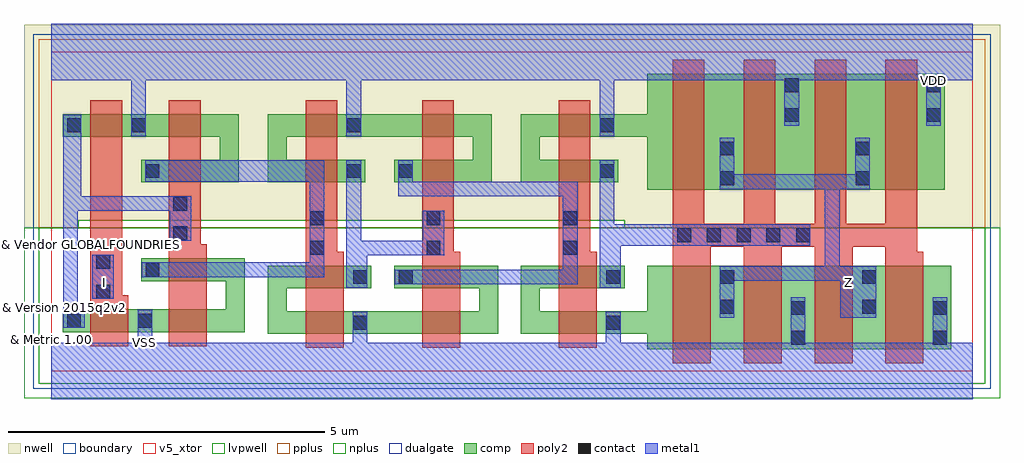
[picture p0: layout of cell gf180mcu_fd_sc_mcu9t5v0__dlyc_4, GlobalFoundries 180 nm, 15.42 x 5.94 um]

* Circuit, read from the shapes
.subckt gf180mcu_fd_sc_mcu9t5v0__dlyc_4 I VDD VSS Z
XM1 VSS I n1 VSUBS nfet_05v0 w=0.36u l=0.6u
XM2 n2 n1 VSS VSUBS nfet_05v0 w=0.36u l=0.6u
XM3 n2 n1 n3 VSUBS nfet_05v0 w=0.36u l=0.6u
XM4 VSS n3 n4 VSUBS nfet_05v0 w=0.36u l=0.6u
XM5 n5 n3 n4 VSUBS nfet_05v0 w=0.36u l=0.6u
XM6 n6 n5 VSS VSUBS nfet_05v0 w=0.36u l=0.6u
XM7 n6 n5 n7 VSUBS nfet_05v0 w=0.36u l=0.6u
XM8 VSS n7 n8 VSUBS nfet_05v0 w=0.36u l=0.6u
XM9 n9 n7 n8 VSUBS nfet_05v0 w=0.36u l=0.6u
XM10 Z n9 VSS VSUBS nfet_05v0 w=1.32u l=0.6u m=4
XM11 VDD I n1 n10 pfet_05v0 w=0.36u l=0.5u
XM12 n11 n1 n3 n10 pfet_05v0 w=0.36u l=0.5u
XM13 n11 n1 VDD n10 pfet_05v0 w=0.36u l=0.5u
XM14 n5 n3 n12 n10 pfet_05v0 w=0.36u l=0.5u
XM15 VDD n3 n12 n10 pfet_05v0 w=0.36u l=0.5u
XM16 n13 n5 n7 n10 pfet_05v0 w=0.36u l=0.5u
XM17 n13 n5 VDD n10 pfet_05v0 w=0.36u l=0.5u
XM18 n9 n7 n14 n10 pfet_05v0 w=0.36u l=0.5u
XM19 VDD n7 n14 n10 pfet_05v0 w=0.36u l=0.5u
XM20 Z n9 VDD n10 pfet_05v0 w=1.83u l=0.5u m=4
.ends

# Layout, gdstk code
import gdstk
lib = gdstk.Library(unit=1e-6, precision=1e-09)
def R(c, l, rs):  # rectangles x0, y0, x1, y1
    for r in rs: c.add(gdstk.rectangle(r[:2], r[2:], *l))
def A(c, l, x, y, w, h, nx, ny, dx, dy):  # array of equal rectangles
    R(c, l, [(x+i*dx, y+j*dy, x+i*dx+w, y+j*dy+h) for i in range(nx) for j in range(ny)])
def P(c, l, *ps):  # polygons
    for p in ps: c.add(gdstk.Polygon(p, *l))
boundary = (0, 0)
nwell = (21, 0)
comp = (22, 0)
poly2 = (30, 0)
pplus = (31, 0)
nplus = (32, 0)
contact = (33, 0)
metal1 = (34, 0)
dualgate = (55, 0)
v5_xtor = (112, 1)
lvpwell = (204, 0)

gf180mcu_fd_sc_mcu9t5v0_ = lib.new_cell('gf180mcu_fd_sc_mcu9t5v0__dlyc_4')
R(gf180mcu_fd_sc_mcu9t5v0_, boundary, [(0,0,14.56,5.04)])
P(gf180mcu_fd_sc_mcu9t5v0_, nwell, [(-0.43,2.265),(-0.43,5.47),(14.99,5.47),(14.99,2.265),(9.065,2.265),(9.065,2.38),(0.43,2.38),(0.43,2.265)])
P(gf180mcu_fd_sc_mcu9t5v0_, comp, [(1.42,2.98),(1.42,3.34),(2.66,3.34),(2.66,3.7),(0.18,3.7),(0.18,4.06),(2.96,4.06),(2.96,2.98)],
  [(0.18,0.615),(0.18,0.975),(2.76,0.975),(2.76,1.42),(1.42,1.42),(1.42,1.78),(3.06,1.78),(3.06,0.615)],
  [(3.42,2.98),(3.42,4.06),(6.96,4.06),(6.96,2.98),(5.42,2.98),(5.42,3.34),(6.66,3.34),(6.66,3.7),(3.72,3.7),(3.72,3.34),(4.96,3.34),(4.96,2.98)],
  [(3.42,0.585),(3.42,1.665),(5.06,1.665),(5.06,1.305),(3.72,1.305),(3.72,0.945),(6.76,0.945),(6.76,1.305),(5.42,1.305),(5.42,1.665),(7.06,1.665),(7.06,0.585)],
  [(9.42,2.865),(9.42,3.7),(7.72,3.7),(7.72,3.34),(8.96,3.34),(8.96,2.98),(7.42,2.98),(7.42,4.06),(9.42,4.06),(9.42,4.695),(14.12,4.695),(14.12,2.865)],
  [(9.42,0.345),(9.42,0.585),(7.42,0.585),(7.42,1.665),(9.06,1.665),(9.06,1.305),(7.72,1.305),(7.72,0.945),(9.42,0.945),(9.42,1.665),(14.22,1.665),(14.22,0.345)])
P(gf180mcu_fd_sc_mcu9t5v0_, poly2, [(0.62,0.395),(0.62,4.28),(1.12,4.28),(1.12,1.195),(1.22,1.195),(1.22,0.395)],
  [(1.86,0.395),(1.86,4.28),(2.36,4.28),(2.36,2),(2.46,2),(2.46,0.395)],
  [(4.02,0.365),(4.02,4.28),(4.52,4.28),(4.52,1.885),(4.62,1.885),(4.62,0.365)],
  [(5.86,0.365),(5.86,4.28),(6.36,4.28),(6.36,1.885),(6.46,1.885),(6.46,0.365)],
  [(8.02,0.365),(8.02,4.28),(8.52,4.28),(8.52,1.885),(8.62,1.885),(8.62,0.365)],
  [(9.82,0.125),(9.82,4.915),(10.32,4.915),(10.32,2.325),(10.94,2.325),(10.94,4.915),(11.44,4.915),(11.44,2.325),(12.06,2.325),(12.06,4.915),(12.56,4.915),(12.56,2.325),(13.18,2.325),(13.18,4.915),(13.68,4.915),(13.68,1.885),(13.78,1.885),(13.78,0.125),(13.18,0.125),(13.18,1.965),(12.66,1.965),(12.66,0.125),(12.06,0.125),(12.06,1.965),(11.54,1.965),(11.54,0.125),(10.94,0.125),(10.94,1.965),(10.42,1.965),(10.42,0.125)])
R(gf180mcu_fd_sc_mcu9t5v0_, pplus, [(-0.2,2.265,14.76,5.24)])
R(gf180mcu_fd_sc_mcu9t5v0_, nplus, [(-0.2,-0.2,14.76,2.265)])
A(gf180mcu_fd_sc_mcu9t5v0_, contact, 9.89, 2.035, 0.22, 0.22, 5, 1, 0.47, 0)
R(gf180mcu_fd_sc_mcu9t5v0_, contact, [(11.69,0.415,11.91,0.635), (13.93,0.415,14.15,0.635), (4.77,0.655,4.99,0.875), (8.77,0.655,8.99,0.875), (0.25,0.685,0.47,0.905), (1.37,0.685,1.59,0.905), (11.69,0.885,11.91,1.105), (13.93,0.885,14.15,1.105), (10.57,0.905,10.79,1.125), (12.81,0.905,13.03,1.125), (0.71,1.145,0.93,1.365), (4.77,1.375,4.99,1.595), (5.49,1.375,5.71,1.595), (8.77,1.375,8.99,1.595), (10.57,1.375,10.79,1.595), (12.81,1.375,13.03,1.595), (1.49,1.49,1.71,1.71), (0.71,1.615,0.93,1.835), (4.09,1.835,4.31,2.055), (5.93,1.835,6.15,2.055), (8.09,1.835,8.31,2.055), (1.93,2.065,2.15,2.285), (4.09,2.305,4.31,2.525), (5.93,2.305,6.15,2.525), (8.09,2.305,8.31,2.525), (1.93,2.535,2.15,2.755), (10.57,2.935,10.79,3.155), (12.71,2.935,12.93,3.155), (1.49,3.05,1.71,3.27), (4.67,3.05,4.89,3.27), (5.49,3.05,5.71,3.27), (8.67,3.05,8.89,3.27), (10.57,3.405,10.79,3.625), (12.71,3.405,12.93,3.625), (0.25,3.77,0.47,3.99), (1.27,3.77,1.49,3.99), (4.67,3.77,4.89,3.99), (8.67,3.77,8.89,3.99), (11.59,3.935,11.81,4.155), (13.83,3.935,14.05,4.155), (11.59,4.405,11.81,4.625), (13.83,4.405,14.05,4.625)])
R(gf180mcu_fd_sc_mcu9t5v0_, metal1, [(0.65,1.14,0.99,1.84)])
P(gf180mcu_fd_sc_mcu9t5v0_, metal1, [(0.19,0.68),(0.19,4.05),(0.475,4.05),(0.475,2.76),(2.21,2.76),(2.21,2.06),(1.87,2.06),(1.87,2.53),(0.42,2.53),(0.42,0.91),(0.53,0.91),(0.53,0.68)],
  [(1.43,1.485),(1.43,1.715),(4.085,1.715),(4.085,2.99),(1.485,2.99),(1.485,3.33),(4.315,3.33),(4.315,1.485)],
  [(4.665,1.315),(4.665,3.33),(4.895,3.33),(4.895,2.06),(5.87,2.06),(5.87,2.53),(6.21,2.53),(6.21,1.83),(4.995,1.83),(4.995,1.315)],
  [(5.43,1.37),(5.43,1.6),(8.085,1.6),(8.085,2.76),(5.485,2.76),(5.485,3.33),(5.715,3.33),(5.715,2.99),(8.315,2.99),(8.315,1.37)],
  [(8.665,1.315),(8.665,3.33),(8.895,3.33),(8.895,2.315),(11.995,2.315),(11.995,1.975),(8.995,1.975),(8.995,1.315)],
  [(10.565,0.845),(10.565,1.655),(12.225,1.655),(12.225,2.875),(10.565,2.875),(10.565,3.685),(10.795,3.685),(10.795,3.105),(12.705,3.105),(12.705,3.685),(12.935,3.685),(12.935,2.875),(12.455,2.875),(12.455,1.655),(13.035,1.655),(13.035,0.845),(12.47,0.845),(12.47,1.425),(10.795,1.425),(10.795,0.845)],
  [(0,-0.45),(0,0.45),(1.365,0.45),(1.365,0.965),(1.595,0.965),(1.595,0.45),(4.765,0.45),(4.765,0.935),(4.995,0.935),(4.995,0.45),(8.765,0.45),(8.765,0.935),(8.995,0.935),(8.995,0.45),(11.685,0.45),(11.685,1.165),(11.915,1.165),(11.915,0.45),(13.925,0.45),(13.925,1.165),(14.155,1.165),(14.155,0.45),(14.56,0.45),(14.56,-0.45)],
  [(1.265,3.71),(1.265,4.59),(0,4.59),(0,5.49),(14.56,5.49),(14.56,4.59),(14.055,4.59),(14.055,3.875),(13.825,3.875),(13.825,4.59),(11.815,4.59),(11.815,3.875),(11.585,3.875),(11.585,4.59),(8.895,4.59),(8.895,3.71),(8.665,3.71),(8.665,4.59),(4.895,4.59),(4.895,3.71),(4.665,3.71),(4.665,4.59),(1.495,4.59),(1.495,3.71)])
R(gf180mcu_fd_sc_mcu9t5v0_, dualgate, [(-0.28,-0.28,14.84,5.32)])
R(gf180mcu_fd_sc_mcu9t5v0_, v5_xtor, [(0,0,14.56,5.04)])
P(gf180mcu_fd_sc_mcu9t5v0_, lvpwell, [(-0.43,-0.43),(-0.43,2.265),(0.43,2.265),(0.43,2.38),(9.065,2.38),(9.065,2.265),(14.99,2.265),(14.99,-0.43)])
gf180mcu_fd_sc_mcu9t5v0_.add(gdstk.Label('I', (0.84,1.4), layer=34, texttype=10))
gf180mcu_fd_sc_mcu9t5v0_.add(gdstk.Label('VDD', (13.94,4.59), layer=34, texttype=10))
gf180mcu_fd_sc_mcu9t5v0_.add(gdstk.Label('VSS', (1.48,0.45), layer=34, texttype=10))
gf180mcu_fd_sc_mcu9t5v0_.add(gdstk.Label('Z', (12.6,1.4), layer=34, texttype=10))
gf180mcu_fd_sc_mcu9t5v0_.add(gdstk.Label('& Vendor GLOBALFOUNDRIES', (0,2), layer=63, texttype=63))
gf180mcu_fd_sc_mcu9t5v0_.add(gdstk.Label('& Product GF018hv5v_green_sc9', (0,1.5), layer=63, texttype=63))
gf180mcu_fd_sc_mcu9t5v0_.add(gdstk.Label('& Version 2015q2v2', (0,1), layer=63, texttype=63))
gf180mcu_fd_sc_mcu9t5v0_.add(gdstk.Label('& Metric 1.00', (0,0.5), layer=63, texttype=63))

lib.write_gds('gf180mcu_fd_sc_mcu9t5v0__dlyc_4.gds')
